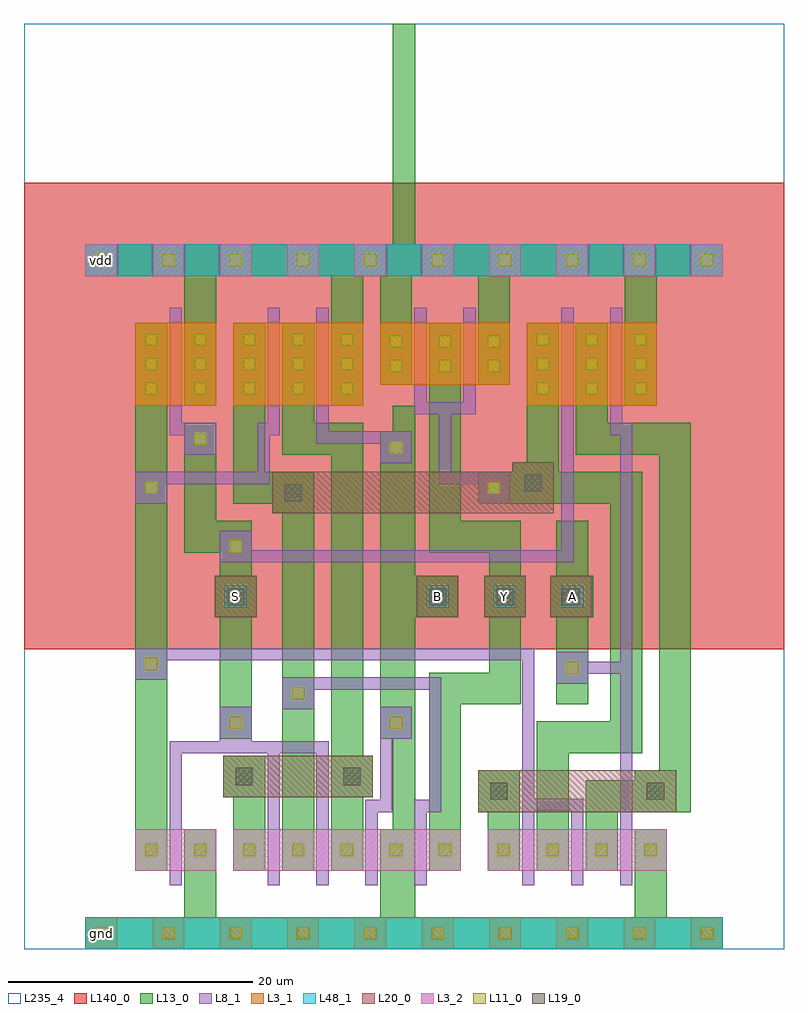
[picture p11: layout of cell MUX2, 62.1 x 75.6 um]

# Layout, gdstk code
import gdstk
lib = gdstk.Library(unit=1e-6, precision=1e-09)
def R(c, l, rs):  # rectangles x0, y0, x1, y1
    for r in rs: c.add(gdstk.rectangle(r[:2], r[2:], *l))
def A(c, l, x, y, w, h, nx, ny, dx, dy):  # array of equal rectangles
    R(c, l, [(x+i*dx, y+j*dy, x+i*dx+w, y+j*dy+h) for i in range(nx) for j in range(ny)])
def P(c, l, *ps):  # polygons
    for p in ps: c.add(gdstk.Polygon(p, *l))
L3_1 = (3, 1)
L3_2 = (3, 2)
L8_1 = (8, 1)
L11_0 = (11, 0)
L13_0 = (13, 0)
L19_0 = (19, 0)
L20_0 = (20, 0)
L48_1 = (48, 1)
L140_0 = (140, 0)
L235_4 = (235, 4)

mux2 = lib.new_cell('MUX2')
A(mux2, L3_1, 5, 0, 2.6, 2.6, 10, 1, 5.5, 0)
R(mux2, L3_1, [(9.1,44.4,15.7,51.2), (17.1,44.4,27.7,51.2), (41.1,44.4,51.7,51.2), (29.1,46.1,39.7,51.2)])
A(mux2, L3_2, 5, 55, 2.6, 2.6, 10, 1, 5.5, 0)
R(mux2, L3_2, [(9.1,6.4,15.7,9.8), (17.1,6.4,35.7,9.8), (37.9,6.4,52.5,9.8)])
P(mux2, L8_1, [(11.9,5.2),(11.9,17),(16,17),(16,19.8),(18.6,19.8),(18.6,17),(24.9,17),(24.9,5.2),(23.9,5.2),(23.9,16),(20.9,16),(20.9,5.2),(19.9,5.2),(19.9,16),(12.9,16),(12.9,5.2)],
  [(27.9,5.2),(27.9,12.2),(29.1,12.2),(29.1,19.8),(31.7,19.8),(31.7,17.2),(30.1,17.2),(30.1,11.2),(28.9,11.2),(28.9,5.2)],
  [(31.9,5.2),(31.9,12.2),(33.1,12.2),(33.1,21.2),(23.7,21.2),(23.7,19.6),(21.1,19.6),(21.1,22.2),(34.1,22.2),(34.1,11.2),(32.9,11.2),(32.9,5.2)],
  [(40.7,5.2),(40.7,23.6),(11.7,23.6),(11.7,22),(9.1,22),(9.1,24.6),(41.7,24.6),(41.7,12.3),(45.7,12.3),(45.7,5.2),(44.7,5.2),(44.7,11.3),(41.7,11.3),(41.7,5.2)],
  [(13.1,40.4),(13.1,42),(11.9,42),(11.9,52.4),(12.9,52.4),(12.9,43),(15.7,43),(15.7,40.4)],
  [(9.1,36.4),(9.1,39),(19.1,39),(19.1,43),(19.9,43),(19.9,52.4),(20.9,52.4),(20.9,42),(20.1,42),(20.1,38),(11.7,38),(11.7,36.4)],
  [(29.1,39.7),(29.1,41.3),(23.9,41.3),(23.9,52.4),(24.9,52.4),(24.9,42.3),(31.7,42.3),(31.7,39.7)],
  [(37.1,36.4),(37.1,38),(33.9,38),(33.9,43.7),(31.9,43.7),(31.9,52.4),(32.9,52.4),(32.9,44.7),(35.9,44.7),(35.9,52.4),(36.9,52.4),(36.9,43.7),(34.9,43.7),(34.9,39),(39.7,39),(39.7,36.4)],
  [(16,31.6),(16,34.2),(18.6,34.2),(18.6,32.6),(43.9,32.6),(43.9,52.4),(44.9,52.4),(44.9,31.6)],
  [(48.7,5.2),(48.7,22.5),(46.1,22.5),(46.1,21.7),(43.5,21.7),(43.5,24.3),(46.1,24.3),(46.1,23.5),(48.7,23.5),(48.7,42),(47.9,42),(47.9,52.4),(48.9,52.4),(48.9,43),(49.7,43),(49.7,5.2)])
A(mux2, L11_0, 5.8, 0.8, 1, 1, 10, 2, 5.5, 55)
A(mux2, L11_0, 9.9, 7.6, 1, 1, 4, 2, 4, 37.7)
A(mux2, L11_0, 21.9, 45.3, 1, 1, 1, 3, 0, 2)
A(mux2, L11_0, 25.9, 45.3, 1, 1, 1, 3, 0, 2)
A(mux2, L11_0, 41.9, 45.3, 1, 1, 1, 3, 0, 2)
A(mux2, L11_0, 49.9, 45.3, 1, 1, 1, 3, 0, 2)
A(mux2, L11_0, 9.9, 47.3, 1, 1, 4, 2, 4, 2)
R(mux2, L11_0, [(21.9,7.6,22.9,8.6), (25.9,7.6,26.9,8.6), (25.9,7.6,26.9,8.6), (29.9,7.6,30.9,8.6), (29.9,7.6,30.9,8.6), (33.9,7.6,34.9,8.6), (38.7,7.6,39.7,8.6), (42.7,7.6,43.7,8.6), (42.7,7.6,43.7,8.6), (46.7,7.6,47.7,8.6), (46.7,7.6,47.7,8.6), (50.7,7.6,51.7,8.6), (16.8,18,17.8,19), (29.9,18,30.9,19), (21.9,20.4,22.9,21.4), (44.3,22.5,45.3,23.5), (9.9,22.8,10.9,23.8), (16.8,32.4,17.8,33.4), (9.9,37.2,10.9,38.2), (37.9,37.2,38.9,38.2), (29.9,40.5,30.9,41.5), (13.9,41.2,14.9,42.2), (45.9,45.3,46.9,46.3), (45.9,45.3,46.9,46.3), (29.9,47.15,30.9,48.15), (33.9,47.15,34.9,48.15), (33.9,47.15,34.9,48.15), (37.9,47.15,38.9,48.15), (45.9,47.3,46.9,48.3), (45.9,47.3,46.9,48.3), (29.9,49.15,30.9,50.15), (33.9,49.15,34.9,50.15), (33.9,49.15,34.9,50.15), (37.9,49.15,38.9,50.15), (45.9,49.3,46.9,50.3), (45.9,49.3,46.9,50.3)])
R(mux2, L13_0, [(9.1,6.4,11.7,51.2)])
P(mux2, L13_0, [(37.9,6.4),(37.9,11.2),(37.1,11.2),(37.1,14.6),(40.5,14.6),(40.5,6.4)],
  [(17.1,6.4),(17.1,12.4),(16.3,12.4),(16.3,15.8),(19.7,15.8),(19.7,6.4)],
  [(43.5,20),(43.5,27.1),(43,27.1),(43,30.5),(43.5,30.5),(43.5,35),(46.1,35),(46.1,30.5),(46.5,30.5),(46.5,27.1),(46.1,27.1),(46.1,20)],
  [(16,17.2),(16,27.1),(15.6,27.1),(15.6,30.5),(16,30.5),(16,32.4),(13.1,32.4),(13.1,43),(15.7,43),(15.7,35),(18.6,35),(18.6,30.5),(19,30.5),(19,27.1),(18.6,27.1),(18.6,17.2)],
  [(5,0),(5,2.6),(13.1,2.6),(13.1,9.8),(15.7,9.8),(15.7,2.6),(29.1,2.6),(29.1,9.8),(30.15,9.8),(30.15,17.2),(29.1,17.2),(29.1,42.3),(30.15,42.3),(30.15,44.4),(31.95,44.4),(31.95,30.5),(35.5,30.5),(35.5,27.1),(31.95,27.1),(31.95,2.6),(49.9,2.6),(49.9,9.8),(52.5,9.8),(52.5,2.6),(57.1,2.6),(57.1,0)],
  [(21.1,6.4),(21.1,35.6),(20.3,35.6),(20.3,36.4),(17.1,36.4),(17.1,51.2),(19.7,51.2),(19.7,39),(23.7,39),(23.7,6.4)],
  [(25.1,6.4),(25.1,40.4),(21.1,40.4),(21.1,51.2),(23.7,51.2),(23.7,43),(27.7,43),(27.7,15.8),(28.5,15.8),(28.5,12.4),(27.7,12.4),(27.7,6.4)],
  [(33.1,6.4),(33.1,22.6),(38,22.6),(38,27.1),(37.6,27.1),(37.6,30.5),(38,30.5),(38,32.4),(33.1,32.4),(33.1,51.2),(35.7,51.2),(35.7,35),(40.6,35),(40.6,30.5),(41,30.5),(41,27.1),(40.6,27.1),(40.6,20),(35.7,20),(35.7,6.4)],
  [(41.9,6.4),(41.9,18.6),(47.9,18.6),(47.9,36.4),(37.1,36.4),(37.1,39),(39.9,39),(39.9,39.8),(41.1,39.8),(41.1,51.2),(43.7,51.2),(43.7,39),(50.5,39),(50.5,16),(44.5,16),(44.5,6.4)],
  [(45.9,6.4),(45.9,13.8),(49.9,13.8),(49.9,14.6),(51.9,14.6),(51.9,40.4),(45.1,40.4),(45.1,51.2),(47.7,51.2),(47.7,43),(54.5,43),(54.5,11.2),(48.5,11.2),(48.5,6.4)],
  [(13.1,44.4),(13.1,55),(5,55),(5,57.6),(30.15,57.6),(30.15,75.6),(31.95,75.6),(31.95,57.6),(57.1,57.6),(57.1,55),(51.7,55),(51.7,44.4),(49.1,44.4),(49.1,55),(39.7,55),(39.7,46.1),(37.1,46.1),(37.1,55),(31.7,55),(31.7,46.1),(29.1,46.1),(29.1,55),(27.7,55),(27.7,44.4),(25.1,44.4),(25.1,55),(15.7,55),(15.7,44.4)])
R(mux2, L19_0, [(38.1,12.2,39.5,13.6), (50.9,12.2,52.3,13.6), (17.3,13.4,18.7,14.8), (26.1,13.4,27.5,14.8), (16.6,28.1,18,29.5), (33.1,28.1,34.5,29.5), (38.6,28.1,40,29.5), (44,28.1,45.4,29.5), (21.3,36.6,22.7,38), (40.9,37.4,42.3,38.8)])
R(mux2, L20_0, [(37.1,11.2,53.3,14.6), (16.3,12.4,28.5,15.8), (15.6,27.1,19,30.5), (32.1,27.1,35.5,30.5), (37.6,27.1,41,30.5), (43,27.1,46.4,30.5)])
P(mux2, L20_0, [(20.3,35.6),(20.3,39),(39.9,39),(39.9,39.8),(43.3,39.8),(43.3,35.6)])
A(mux2, L48_1, 32.9, 27.9, 1.8, 1.8, 3, 1, 5.5, 0)
R(mux2, L48_1, [(5,0,57.1,2.6), (16.4,27.9,18.2,29.7), (5,55,57.1,57.6)])
R(mux2, L140_0, [(0,24.5,62.1,62.6)])
R(mux2, L235_4, [(0,0,62.1,75.6)])
mux2.add(gdstk.Label('S', (17.3,28.8), layer=48, texttype=0))
mux2.add(gdstk.Label('B', (33.8,28.8), layer=48, texttype=0))
mux2.add(gdstk.Label('Y', (39.3,28.8), layer=48, texttype=0))
mux2.add(gdstk.Label('A', (44.8,28.8), layer=48, texttype=0))
mux2.add(gdstk.Label('gnd', (6.3,1.3), layer=48, texttype=0))
mux2.add(gdstk.Label('vdd', (6.3,56.3), layer=48, texttype=0))
mux2.add(gdstk.Label('A', (44.7,28.8), layer=49, texttype=0))
mux2.add(gdstk.Label('B', (33.8,28.8), layer=49, texttype=0))
mux2.add(gdstk.Label('S', (17.3,28.8), layer=49, texttype=0))
mux2.add(gdstk.Label('Y', (39.3,28.8), layer=49, texttype=0))

lib.write_gds('MUX2.gds')
